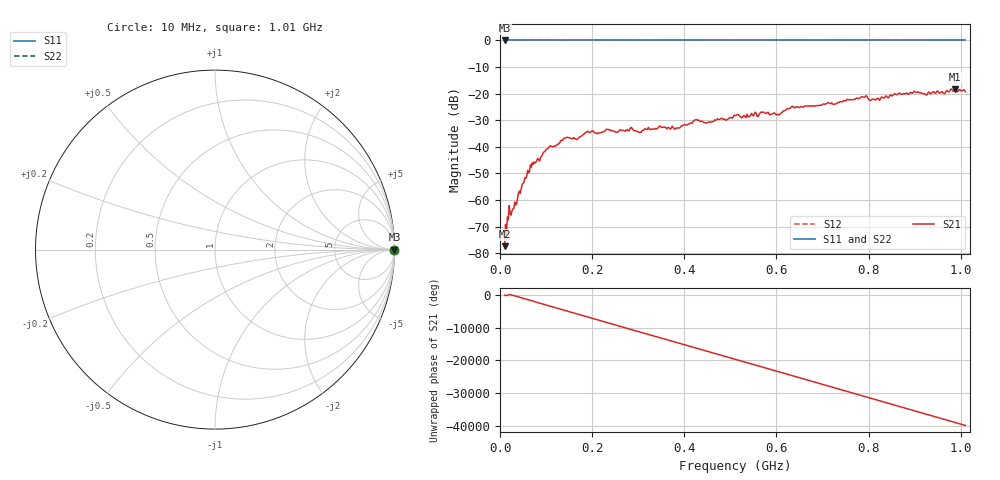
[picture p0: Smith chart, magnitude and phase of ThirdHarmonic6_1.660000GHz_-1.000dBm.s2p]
! 8/16/2025 7:53:32 PM
! C:\ANRITSUVNA\TEMP\TEMP.S2P
! CHANNEL.1
! TR.MEASUREMENT
! RAW.DATA
! RF.CORRECTION.OFF
! AVERAGING.OFF
! IF.BANDWIDTH: 5KHZ
! SWEEPTYPE:  FREQ.SWEEP(Linear)
! Reference Plane Port Info
! PORT:  PORT1  PORT2
! DISTANCE:  0  m  0  m
! TIME:  0  s  0  s
! PHASE.OFFSET:  0  deg.  0  deg.
! LOSS:  0  dB  0  dB
! REF.LOSS:  0  dB  0  dB
! REF.FREQ:  0  Hz  0  Hz
! Power Info
! POWER:  -20  dBm  -20  dBm
! EFF.POWER:  -20  dBm  -20  dBm
! SOURCE.ATTEN:  0  dB  0  dB
! TEST.ATTEN:  0  dB  0  dB
# GHZ S RI R 50.0
! FREQ.GHZ  S11RE  S11IM  S21RE  S21IM  S12RE  S12IM  S22RE  S22IM
!; PortSelection: Port_12
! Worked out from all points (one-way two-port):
!   501 points, 10 MHz to 1.01 GHz, reference 50 ohm
!   highest |S21| = -18.22 dB at 988 MHz (marker M1); lowest = -77.4 dB at 10 MHz (marker M2)
!   lowest |S11| = 0.0 dB at 10 MHz (marker M3)
!   |S11| at or under -10 dB: nowhere
!   |S22| runs from 0.0 to 0.0 dB; largest |S21 - S12| = 1.1
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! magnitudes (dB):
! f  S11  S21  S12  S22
! 10 MHz  0.0  -77.4  0.0  0.0
! 16 MHz  0.0  -66.4  0.0  0.0
! 20 MHz  0.0  -62.1  0.0  0.0
! 32 MHz  0.0  -60.8  0.0  0.0
! 50 MHz  0.0  -53.7  0.0  0.0
! 70 MHz  0.0  -46.0  0.0  0.0
! 106 MHz  0.0  -40.1  0.0  0.0
! 142 MHz  0.0  -36.7  0.0  0.0
! 178 MHz  0.0  -35.8  0.0  0.0
! 234 MHz  0.0  -33.4  0.0  0.0
! 302 MHz  0.0  -34.6  0.0  0.0
! 344 MHz  0.0  -32.6  0.0  0.0
! 382 MHz  0.0  -32.9  0.0  0.0
! 426 MHz  0.0  -29.7  0.0  0.0
! 448 MHz  0.0  -31.1  0.0  0.0
! 510 MHz  0.0  -28.2  0.0  0.0
! 604 MHz  0.0  -28.0  0.0  0.0
! 632 MHz  0.0  -25.0  0.0  0.0
! 678 MHz  0.0  -24.7  0.0  0.0
! 844 MHz  0.0  -21.4  0.0  0.0
! 988 MHz  0.0  -18.2  0.0  0.0
! 1.01 GHz  0.0  -19.3  0.0  0.0
